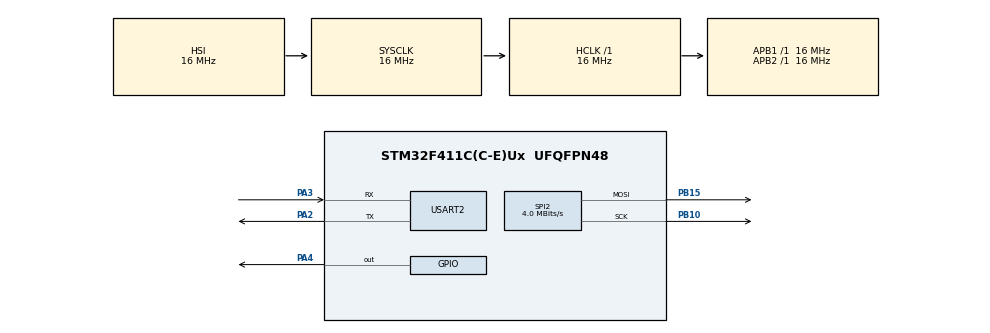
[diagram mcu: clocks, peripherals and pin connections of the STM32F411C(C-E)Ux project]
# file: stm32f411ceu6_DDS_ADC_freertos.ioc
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FREERTOS.Queues01=qSweepCmd,8,uint16_t,0,Dynamic,NULL,NULL
FREERTOS.Tasks01=defaultTask,24,128,StartDefaultTask,Default,NULL,Dynamic,NULL,NULL;SweepTask,24,256,StartSweepTask,Default,NULL,Dynamic,NULL,NULL;DDSControlTask,32,256,StartDDSControlTask,Default,NULL,Dynamic,NULL,NULL
Mcu.Family=STM32F4
Mcu.Name=STM32F411C(C-E)Ux
Mcu.Package=UFQFPN48
NVIC.PriorityGroup=NVIC_PRIORITYGROUP_4
PA13.Mode=Serial_Wire
PA13.Signal=SYS_JTMS-SWDIO
PA14.Mode=Serial_Wire
PA14.Signal=SYS_JTCK-SWCLK
PA2.Mode=Asynchronous
PA2.Signal=USART2_TX
PA3.Mode=Asynchronous
PA3.Signal=USART2_RX
PA4.Signal=GPIO_Output
PB10.Mode=TX_Only_Simplex_Unidirect_Master
PB10.Signal=SPI2_SCK
PB15.Mode=TX_Only_Simplex_Unidirect_Master
PB15.Signal=SPI2_MOSI
PH0\ -\ OSC_IN.Mode=HSE-External-Oscillator
PH0\ -\ OSC_IN.Signal=RCC_OSC_IN
PH1\ -\ OSC_OUT.Mode=HSE-External-Oscillator
PH1\ -\ OSC_OUT.Signal=RCC_OSC_OUT
ProjectManager.HeapSize=0x200
ProjectManager.StackSize=0x400
ProjectManager.TargetToolchain=STM32CubeIDE
RCC.AHBFreq_Value=16000000
RCC.APB1Freq_Value=16000000
RCC.APB2Freq_Value=16000000
RCC.CortexFreq_Value=16000000
RCC.HSE_VALUE=25000000
RCC.HSI_VALUE=16000000
RCC.LSE_VALUE=32768
RCC.SYSCLKFreq_VALUE=16000000
RCC.VCOOutputFreq_Value=192000000
SPI2.BaudRatePrescaler=SPI_BAUDRATEPRESCALER_4
SPI2.CLKPolarity=SPI_POLARITY_HIGH
SPI2.CalculateBaudRate=4.0 MBits/s
SPI2.Direction=SPI_DIRECTION_2LINES
SPI2.Mode=SPI_MODE_MASTER
SPI2.VirtualType=VM_MASTER
USART2.VirtualMode=VM_ASYNC
VP_FREERTOS_VS_CMSIS_V2.Mode=CMSIS_V2
board=custom

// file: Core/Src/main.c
/* USER CODE BEGIN Header */
/**
  ******************************************************************************
  * @file           : main.c
  * @brief          : Main program body
  ******************************************************************************
  * @attention
  *
  * Copyright (c) 2026 STMicroelectronics.
  * All rights reserved.
  *
  * This software is licensed under terms that can be found in the LICENSE file
  * in the root directory of this software component.
  * If no LICENSE file comes with this software, it is provided AS-IS.
  *
  ******************************************************************************
  */
/* USER CODE END Header */
#include "main.h"
#include "cmsis_os.h"

/* USER CODE BEGIN Includes */
#include "AD9833.h"
#include <string.h>
#include <stdio.h>
#include "goertzel.h"
/* USER CODE END Includes */

/* USER CODE BEGIN PTD */
typedef struct
{
  uint32_t frequency_hz;
  uint32_t settle_time_ms;
} SweepCmd_t;

/* USER CODE END PTD */

SPI_HandleTypeDef hspi2;

UART_HandleTypeDef huart2;

/* Definitions for defaultTask */
osThreadId_t defaultTaskHandle;
const osThreadAttr_t defaultTask_attributes = {
  .name = "defaultTask",
  .stack_size = 128 * 4,
  .priority = (osPriority_t) osPriorityNormal,
};
/* Definitions for SweepTask */
osThreadId_t SweepTaskHandle;
const osThreadAttr_t SweepTask_attributes = {
  .name = "SweepTask",
  .stack_size = 256 * 4,
  .priority = (osPriority_t) osPriorityNormal,
};
/* Definitions for DDSControlTask */
osThreadId_t DDSControlTaskHandle;
const osThreadAttr_t DDSControlTask_attributes = {
  .name = "DDSControlTask",
  .stack_size = 256 * 4,
  .priority = (osPriority_t) osPriorityAboveNormal,
};
/* Definitions for qSweepCmd */
osMessageQueueId_t qSweepCmdHandle;
const osMessageQueueAttr_t qSweepCmd_attributes = {
  .name = "qSweepCmd"
};
/* USER CODE BEGIN PV */
#define TEST_N 200

uint16_t test_adc_buf[TEST_N];

/* USER CODE END PV */

void SystemClock_Config(void);
static void MX_GPIO_Init(void);
static void MX_SPI2_Init(void);
static void MX_USART2_UART_Init(void);
void StartDefaultTask(void *argument);
void StartSweepTask(void *argument);
void StartDDSControlTask(void *argument);

/* USER CODE BEGIN 0 */
void generate_test_sine_adc(uint16_t *buf,
                            uint32_t N,
                            float fs_hz,
                            float f_sig_hz,
                            float amplitude,
                            float midpoint)
{
    for (uint32_t i = 0; i < N; i++)
    {
        float t = (float)i / fs_hz;
        float y = midpoint + amplitude * sinf(2.0f * 3.1415926f * f_sig_hz * t);

        if (y < 0.0f) y = 0.0f;
        if (y > 4095.0f) y = 4095.0f;

        buf[i] = (uint16_t)y;
    }
}

/* USER CODE END 0 */

int main(void)
{

  /* MCU Configuration--------------------------------------------------------*/

  /* Reset of all peripherals, Initializes the Flash interface and the Systick. */
  HAL_Init();

  /* Configure the system clock */
  SystemClock_Config();

  /* Initialize all configured peripherals */
  MX_GPIO_Init();
  MX_SPI2_Init();
  MX_USART2_UART_Init();
  /* USER CODE BEGIN 2 */
  generate_test_sine_adc(test_adc_buf, TEST_N, 10000.0f, 1000.0f, 1000.0f, 2048.0f);

  float mag_1000 = process_adc_goertzel(test_adc_buf, TEST_N, 10000.0f, 1000.0f);
  float mag_500  = process_adc_goertzel(test_adc_buf, TEST_N, 10000.0f, 500.0f);

  char msg[128];
  int n = snprintf(msg, sizeof(msg),
                   "MAG@1000=%.2f, MAG@500=%.2f\r\n",
                   mag_1000, mag_500);
  HAL_UART_Transmit(&huart2, (uint8_t*)msg, n, HAL_MAX_DELAY);

  /* USER CODE END 2 */

  /* Init scheduler */
  osKernelInitialize();

  /* Create the queue(s) */
  /* creation of qSweepCmd */
  qSweepCmdHandle = osMessageQueueNew (8, sizeof(uint16_t), &qSweepCmd_attributes);

  /* Create the thread(s) */
  /* creation of defaultTask */
  defaultTaskHandle = osThreadNew(StartDefaultTask, NULL, &defaultTask_attributes);

  /* creation of SweepTask */
  SweepTaskHandle = osThreadNew(StartSweepTask, NULL, &SweepTask_attributes);

  /* creation of DDSControlTask */
  DDSControlTaskHandle = osThreadNew(StartDDSControlTask, NULL, &DDSControlTask_attributes);

  /* Start scheduler */
  osKernelStart();

  /* We should never get here as control is now taken by the scheduler */

  /* Infinite loop */
  while (1)
  {

  }
}

void SystemClock_Config(void)
{
  RCC_OscInitTypeDef RCC_OscInitStruct = {0};
  RCC_ClkInitTypeDef RCC_ClkInitStruct = {0};

  /** Configure the main internal regulator output voltage
  */
  __HAL_RCC_PWR_CLK_ENABLE();
  __HAL_PWR_VOLTAGESCALING_CONFIG(PWR_REGULATOR_VOLTAGE_SCALE1);

  /** Initializes the RCC Oscillators according to the specified parameters
  * in the RCC_OscInitTypeDef structure.
  */
  RCC_OscInitStruct.OscillatorType = RCC_OSCILLATORTYPE_HSI;
  RCC_OscInitStruct.HSIState = RCC_HSI_ON;
  RCC_OscInitStruct.HSICalibrationValue = RCC_HSICALIBRATION_DEFAULT;
  RCC_OscInitStruct.PLL.PLLState = RCC_PLL_NONE;
  if (HAL_RCC_OscConfig(&RCC_OscInitStruct) != HAL_OK)
  {
    Error_Handler();
  }

  /** Initializes the CPU, AHB and APB buses clocks
  */
  RCC_ClkInitStruct.ClockType = RCC_CLOCKTYPE_HCLK|RCC_CLOCKTYPE_SYSCLK
                              |RCC_CLOCKTYPE_PCLK1|RCC_CLOCKTYPE_PCLK2;
  RCC_ClkInitStruct.SYSCLKSource = RCC_SYSCLKSOURCE_HSI;
  RCC_ClkInitStruct.AHBCLKDivider = RCC_SYSCLK_DIV1;
  RCC_ClkInitStruct.APB1CLKDivider = RCC_HCLK_DIV1;
  RCC_ClkInitStruct.APB2CLKDivider = RCC_HCLK_DIV1;

  if (HAL_RCC_ClockConfig(&RCC_ClkInitStruct, FLASH_LATENCY_0) != HAL_OK)
  {
    Error_Handler();
  }
}

static void MX_SPI2_Init(void)
{

  /* SPI2 parameter configuration*/
  hspi2.Instance = SPI2;
  hspi2.Init.Mode = SPI_MODE_MASTER;
  hspi2.Init.Direction = SPI_DIRECTION_2LINES;
  hspi2.Init.DataSize = SPI_DATASIZE_8BIT;
  hspi2.Init.CLKPolarity = SPI_POLARITY_HIGH;
  hspi2.Init.CLKPhase = SPI_PHASE_1EDGE;
  hspi2.Init.NSS = SPI_NSS_SOFT;
  hspi2.Init.BaudRatePrescaler = SPI_BAUDRATEPRESCALER_4;
  hspi2.Init.FirstBit = SPI_FIRSTBIT_MSB;
  hspi2.Init.TIMode = SPI_TIMODE_DISABLE;
  hspi2.Init.CRCCalculation = SPI_CRCCALCULATION_DISABLE;
  hspi2.Init.CRCPolynomial = 10;
  if (HAL_SPI_Init(&hspi2) != HAL_OK)
  {
    Error_Handler();
  }

}

static void MX_USART2_UART_Init(void)
{

  huart2.Instance = USART2;
  huart2.Init.BaudRate = 115200;
  huart2.Init.WordLength = UART_WORDLENGTH_8B;
  huart2.Init.StopBits = UART_STOPBITS_1;
  huart2.Init.Parity = UART_PARITY_NONE;
  huart2.Init.Mode = UART_MODE_TX_RX;
  huart2.Init.HwFlowCtl = UART_HWCONTROL_NONE;
  huart2.Init.OverSampling = UART_OVERSAMPLING_16;
  if (HAL_UART_Init(&huart2) != HAL_OK)
  {
    Error_Handler();
  }

}

static void MX_GPIO_Init(void)
{
  GPIO_InitTypeDef GPIO_InitStruct = {0};

  /* GPIO Ports Clock Enable */
  __HAL_RCC_GPIOH_CLK_ENABLE();
  __HAL_RCC_GPIOA_CLK_ENABLE();
  __HAL_RCC_GPIOB_CLK_ENABLE();

  /*Configure GPIO pin Output Level */
  HAL_GPIO_WritePin(GPIOA, GPIO_PIN_4, GPIO_PIN_RESET);

  /*Configure GPIO pin : PA4 */
  GPIO_InitStruct.Pin = GPIO_PIN_4;
  GPIO_InitStruct.Mode = GPIO_MODE_OUTPUT_PP;
  GPIO_InitStruct.Pull = GPIO_NOPULL;
  GPIO_InitStruct.Speed = GPIO_SPEED_FREQ_LOW;
  HAL_GPIO_Init(GPIOA, &GPIO_InitStruct);

}

void StartDefaultTask(void *argument)
{
  for(;;)
  {
    osDelay(1);
  }
}

void StartSweepTask(void *argument)
{
  /* USER CODE BEGIN StartSweepTask */
	SweepCmd_t cmd;
  /* Infinite loop */
  for(;;)
  {
	  cmd.frequency_hz = 1000;
	  cmd.settle_time_ms = 200;
	  osMessageQueuePut(qSweepCmdHandle, &cmd, 0, osWaitForever);
	  osDelay(1000);

	  cmd.frequency_hz = 2000;
	  cmd.settle_time_ms = 200;
	  osMessageQueuePut(qSweepCmdHandle, &cmd, 0, osWaitForever);
	  osDelay(1000);

	  cmd.frequency_hz = 5000;
	  cmd.settle_time_ms = 200;
	  osMessageQueuePut(qSweepCmdHandle, &cmd, 0, osWaitForever);
	  osDelay(1000);
  }
  /* USER CODE END StartSweepTask */
}

void StartDDSControlTask(void *argument)
{
  /* USER CODE BEGIN StartDDSControlTask */
	SweepCmd_t cmd;
	char msg[64];

	AD9833_Init(wave_sine, 1000, 0);
  /* Infinite loop */
  for(;;)
  {
	  if (osMessageQueueGet(qSweepCmdHandle, &cmd, NULL, osWaitForever) == osOK)
	     {
	       AD9833_SetFrequency(cmd.frequency_hz);

	       #ifdef USART2
	       int n = snprintf(msg, sizeof(msg), "DDS set: %lu Hz\r\n", cmd.frequency_hz);
	       HAL_UART_Transmit(&huart2, (uint8_t*)msg, n, HAL_MAX_DELAY);
	       #endif

	       osDelay(cmd.settle_time_ms);
	     }
  }
  /* USER CODE END StartDDSControlTask */
}

void Error_Handler(void)
{
  __disable_irq();
  while (1)
  {
  }
}
